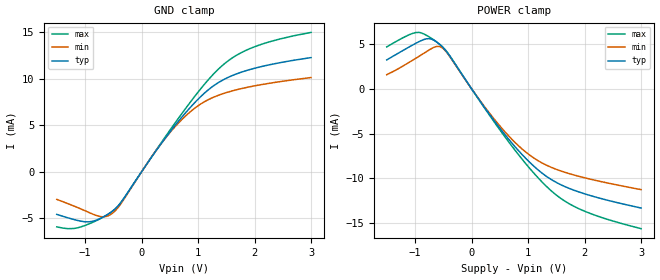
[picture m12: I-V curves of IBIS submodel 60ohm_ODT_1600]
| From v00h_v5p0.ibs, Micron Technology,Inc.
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| SUBMODEL 60ohm_ODT_1600
[Submodel]   60ohm_ODT_1600
Submodel_type  Dynamic_clamp
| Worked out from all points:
|   POWER clamp passes 1 mA (typ) near -0.11 V on its own axis
[GND Clamp]
|   Voltage   I(typ)   I(min)   I(max)
-1.5V     -4.569mA   -2.956mA   -5.917mA
-1.205V   -5.107mA   -3.652mA   -6.09mA
-925mV    -5.37mA    -4.379mA   -5.584mA
-740mV    -5.033mA   -4.788mA   -5.071mA
-590mV    -4.533mA   -4.721mA   -4.555mA
-360mV    -3.261mA   -3.386mA   -3.249mA
465mV     3.987mA    3.941mA    4.148mA
1V        7.804mA    7.102mA    8.565mA
1.37V     9.63mA     8.254mA    11.1mA
1.74V     10.66mA    8.912mA    12.73mA
2.24V     11.48mA    9.501mA    13.94mA
3V        12.29mA    10.14mA    14.99mA
[POWER Clamp]
|   Voltage   I(typ)   I(min)   I(max)
-1.5V     3.214mA    1.565mA    4.665mA
-935mV    5.227mA    3.59mA     6.282mA
-730mV    5.566mA    4.397mA    5.703mA
-540mV    4.815mA    4.642mA    4.818mA
-415mV    3.911mA    3.854mA    3.95mA
175mV     -1.595mA   -1.535mA   -1.642mA
495mV     -4.343mA   -4.107mA   -4.533mA
855mV     -7.072mA   -6.501mA   -7.546mA
1.185V    -9.097mA   -8.061mA   -9.987mA
1.525V    -10.54mA   -9.053mA   -11.98mA
1.865V    -11.44mA   -9.715mA   -13.28mA
3V        -13.31mA   -11.26mA   -15.61mA
